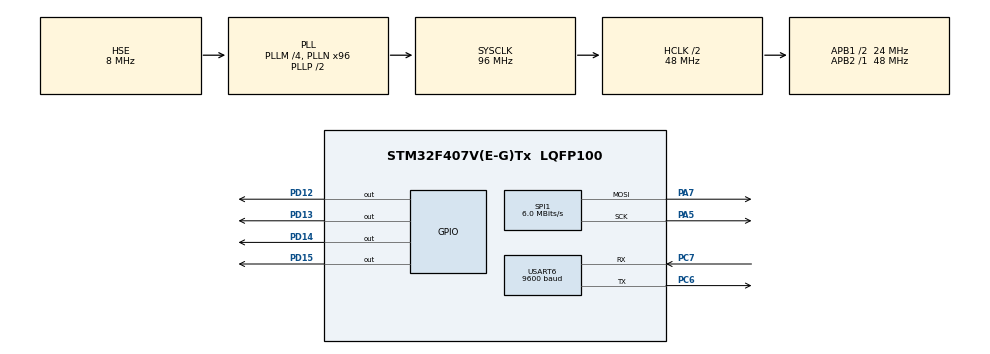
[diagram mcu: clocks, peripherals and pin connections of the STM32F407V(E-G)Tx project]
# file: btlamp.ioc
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Dma.Request0=SPI1_TX
Dma.Request1=USART6_RX
Dma.SPI1_TX.0.Direction=DMA_MEMORY_TO_PERIPH
Dma.SPI1_TX.0.FIFOMode=DMA_FIFOMODE_DISABLE
Dma.SPI1_TX.0.Instance=DMA2_Stream3
Dma.SPI1_TX.0.MemDataAlignment=DMA_MDATAALIGN_BYTE
Dma.SPI1_TX.0.MemInc=DMA_MINC_ENABLE
Dma.SPI1_TX.0.Mode=DMA_CIRCULAR
Dma.SPI1_TX.0.PeriphDataAlignment=DMA_PDATAALIGN_BYTE
Dma.SPI1_TX.0.PeriphInc=DMA_PINC_DISABLE
Dma.SPI1_TX.0.Priority=DMA_PRIORITY_VERY_HIGH
Dma.USART6_RX.1.Direction=DMA_PERIPH_TO_MEMORY
Dma.USART6_RX.1.FIFOMode=DMA_FIFOMODE_DISABLE
Dma.USART6_RX.1.Instance=DMA2_Stream1
Dma.USART6_RX.1.MemDataAlignment=DMA_MDATAALIGN_BYTE
Dma.USART6_RX.1.MemInc=DMA_MINC_ENABLE
Dma.USART6_RX.1.Mode=DMA_NORMAL
Dma.USART6_RX.1.PeriphDataAlignment=DMA_PDATAALIGN_BYTE
Dma.USART6_RX.1.PeriphInc=DMA_PINC_DISABLE
Dma.USART6_RX.1.Priority=DMA_PRIORITY_VERY_HIGH
Mcu.Family=STM32F4
Mcu.Name=STM32F407V(E-G)Tx
Mcu.Package=LQFP100
NVIC.DMA2_Stream1_IRQn=true\:0\:0\:false\:false\:true\:false
NVIC.DMA2_Stream3_IRQn=true\:0\:0\:false\:false\:true\:false
NVIC.PriorityGroup=NVIC_PRIORITYGROUP_4
NVIC.RCC_IRQn=true\:0\:0\:false\:false\:true\:true
NVIC.SPI1_IRQn=true\:0\:0\:false\:false\:true\:true
NVIC.TIM2_IRQn=true\:0\:0\:false\:false\:true\:true
NVIC.USART6_IRQn=true\:0\:0\:false\:false\:true\:true
PA5.Mode=TX_Only_Simplex_Unidirect_Master
PA5.Signal=SPI1_SCK
PA7.Mode=TX_Only_Simplex_Unidirect_Master
PA7.Signal=SPI1_MOSI
PC6.Mode=Asynchronous
PC6.Signal=USART6_TX
PC7.Mode=Asynchronous
PC7.Signal=USART6_RX
PD12.Signal=GPIO_Output
PD13.Signal=GPIO_Output
PD14.Signal=GPIO_Output
PD15.Signal=GPIO_Output
PH0-OSC_IN.Mode=HSE-External-Oscillator
PH0-OSC_IN.Signal=RCC_OSC_IN
PH1-OSC_OUT.Mode=HSE-External-Oscillator
PH1-OSC_OUT.Signal=RCC_OSC_OUT
ProjectManager.HeapSize=0x200
ProjectManager.StackSize=0x400
ProjectManager.TargetToolchain=SW4STM32
RCC.48MHZClocksFreq_Value=48000000
RCC.AHBCLKDivider=RCC_SYSCLK_DIV2
RCC.AHBFreq_Value=48000000
RCC.APB1CLKDivider=RCC_HCLK_DIV2
RCC.APB1Freq_Value=24000000
RCC.APB1TimFreq_Value=48000000
RCC.APB2Freq_Value=48000000
RCC.APB2TimFreq_Value=48000000
RCC.CortexFreq_Value=48000000
RCC.HCLKFreq_Value=48000000
RCC.HSE_VALUE=8000000
RCC.HSI_VALUE=16000000
RCC.LSE_VALUE=32768
RCC.PLLM=4
RCC.PLLN=96
RCC.PLLSourceVirtual=RCC_PLLSOURCE_HSE
RCC.SYSCLKFreq_VALUE=96000000
RCC.SYSCLKSource=RCC_SYSCLKSOURCE_PLLCLK
RCC.VCOOutputFreq_Value=192000000
SPI1.BaudRatePrescaler=SPI_BAUDRATEPRESCALER_8
SPI1.CalculateBaudRate=6.0 MBits/s
SPI1.Direction=SPI_DIRECTION_2LINES
SPI1.Mode=SPI_MODE_MASTER
SPI1.VirtualType=VM_MASTER
TIM2.Period=9
TIM2.Prescaler=4799
USART6.BaudRate=9600
USART6.VirtualMode=VM_ASYNC
VP_TIM2_VS_ClockSourceINT.Mode=Internal
board=custom

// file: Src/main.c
/* USER CODE BEGIN Header */
/**
  ******************************************************************************
  * @file           : main.c
  * @brief          : Main program body
  ******************************************************************************
  ** This notice applies to any and all portions of this file
  * that are not between comment pairs USER CODE BEGIN and
  * USER CODE END. Other portions of this file, whether
  * inserted by the user or by software development tools
  * are owned by their respective copyright owners.
  *
  * COPYRIGHT(c) 2019 STMicroelectronics
  *
  * Redistribution and use in source and binary forms, with or without modification,
  * are permitted provided that the following conditions are met:
  *   1. Redistributions of source code must retain the above copyright notice,
  *      this list of conditions and the following disclaimer.
  *   2. Redistributions in binary form must reproduce the above copyright notice,
  *      this list of conditions and the following disclaimer in the documentation
  *      and/or other materials provided with the distribution.
  *   3. Neither the name of STMicroelectronics nor the names of its contributors
  *      may be used to endorse or promote products derived from this software
  *      without specific prior written permission.
  *
  * THIS SOFTWARE IS PROVIDED BY THE COPYRIGHT HOLDERS AND CONTRIBUTORS "AS IS"
  * AND ANY EXPRESS OR IMPLIED WARRANTIES, INCLUDING, BUT NOT LIMITED TO, THE
  * IMPLIED WARRANTIES OF MERCHANTABILITY AND FITNESS FOR A PARTICULAR PURPOSE ARE
  * DISCLAIMED. IN NO EVENT SHALL THE COPYRIGHT HOLDER OR CONTRIBUTORS BE LIABLE
  * FOR ANY DIRECT, INDIRECT, INCIDENTAL, SPECIAL, EXEMPLARY, OR CONSEQUENTIAL
  * DAMAGES (INCLUDING, BUT NOT LIMITED TO, PROCUREMENT OF SUBSTITUTE GOODS OR
  * SERVICES; LOSS OF USE, DATA, OR PROFITS; OR BUSINESS INTERRUPTION) HOWEVER
  * CAUSED AND ON ANY THEORY OF LIABILITY, WHETHER IN CONTRACT, STRICT LIABILITY,
  * OR TORT (INCLUDING NEGLIGENCE OR OTHERWISE) ARISING IN ANY WAY OUT OF THE USE
  * OF THIS SOFTWARE, EVEN IF ADVISED OF THE POSSIBILITY OF SUCH DAMAGE.
  *
  ******************************************************************************
  */
/* USER CODE END Header */

#include "main.h"

/* USER CODE BEGIN Includes */
#include <stdlib.h>
#include <string.h>
#include "stm32f4xx_hal.h"
#include "ws2812b.h"
#include "ws2812b_fx.h"

/* USER CODE END Includes */

SPI_HandleTypeDef hspi1;
DMA_HandleTypeDef hdma_spi1_tx;

TIM_HandleTypeDef htim2;

UART_HandleTypeDef huart6;
DMA_HandleTypeDef hdma_usart6_rx;

/* USER CODE BEGIN PV */
uint8_t rx_buffer[13];
ws2812b_color co1;
int msec_counter = 0, sec_counter = 0, min_counter = 0, min_alarm = 0;
/* USER CODE END PV */

void SystemClock_Config(void);
static void MX_GPIO_Init(void);
static void MX_DMA_Init(void);
static void MX_USART6_UART_Init(void);
static void MX_SPI1_Init(void);
static void MX_TIM2_Init(void);
/* USER CODE BEGIN PFP */
void HAL_TIM_PeriodElapsedCallback(TIM_HandleTypeDef *htim){
	WS2812BFX_SysTickCallback();	// FX effects software timers
	if(min_alarm > 0){
		msec_counter++;
		if(msec_counter == 1000){
			msec_counter = 0;
			sec_counter++;
		}
		if(sec_counter == 60){
			sec_counter = 0;
			min_counter++;
		}
		if(min_counter == min_alarm){
			WS2812BFX_SetSpeed(0, 12);
			WS2812BFX_SetColorRGB(0, 255, 0, 0);
			WS2812BFX_SetColorRGB(1, 0, 0, 255);
			co1.red = 0;
			co1.green = 0;
			co1.blue = 0;
			WS2812BFX_SetMode(0, FX_MODE_FADE_DUAL);	// Set mode segment 0
			min_alarm = 0;
		}
	}
}
void HAL_UART_RxCpltCallback(UART_HandleTypeDef *huart) {
	  int tem = 0, tmp2 = 0;
	  char c1[4], c2[4], c3[4], alarm[6];
	  c1[4] = '\0';
	  c2[4] = '\0';
	  c3[4] = '\0';
	  alarm[6] = '\0';

	  if(rx_buffer[0] == '0'){
		WS2812BFX_SetSpeed(0, 1);
		WS2812BFX_SetColorRGB(0, co1.red, co1.green, co1.blue);	// Set color 1
		WS2812BFX_SetColorRGB(1, 0,0,0);	// Set color 1
		co1.red = 0;
		co1.green = 0;
		co1.blue = 0;
		WS2812BFX_SetMode(0, FX_MODE_FADE);
	  }

	  if(rx_buffer[0] == '1'){
		WS2812BFX_SetSpeed(0, 1);
		WS2812BFX_SetColorRGB(0, co1.red, co1.green, co1.blue);	// Set color 1
		WS2812BFX_SetColorRGB(1, 255,255,255);	// Set color 1
		co1.red = 255;
		co1.green = 255;
		co1.blue = 255;
		WS2812BFX_SetMode(0, FX_MODE_FADE);
	  }

	  if(rx_buffer[0] == '2'){
		  for(uint8_t j = 2; j < 13; j++){
			  if(rx_buffer[j] == '-'){
				  tem++;
				  tmp2 = 0;
				  continue;
			  }
			  if(tem==0){
				  c1[tmp2] = rx_buffer[j];
				  tmp2++;
			  }
			  if(tem==1){
				  c2[tmp2] = rx_buffer[j];
				  tmp2++;
			  }
			  if(tem==2){
				  c3[tmp2] = rx_buffer[j];
				  tmp2++;
				  if(tmp2 == 3) break;
			  }
		  }
		  int col1 = strtol( c1,NULL, 10);
		  int col2 = atoi(c2);
		  int col3 = atoi(c3);

		  WS2812BFX_SetSpeed(0, 1);
		  WS2812BFX_SetColorRGB(0, co1.red, co1.green, co1.blue);
		  WS2812BFX_SetColorRGB(1, col1, col2, col3);
		  co1.red = col1;
		  co1.green = col2;
		  co1.blue = col3;
		  WS2812BFX_SetMode(0, FX_MODE_FADE);	// Set mode segment 0
	  }
	  if(rx_buffer[0] == '3'){
		  // NATURE
		  if(rx_buffer[1] == '-' && rx_buffer[2] == '0'){
			  WS2812BFX_SetSpeed(0, 80);
			  WS2812BFX_SetColorRGB(0, 0, 64, 0);
			  WS2812BFX_SetColorRGB(1, 128, 255, 0);
			  co1.red = 0;
			  co1.green = 0;
		  	  co1.blue = 0;
		  	  WS2812BFX_SetMode(0, FX_MODE_FADE_DUAL);	// Set mode segment 0
		  }
		  // CANDLE
		  if(rx_buffer[1] == '-' && rx_buffer[2] == '1'){
			  WS2812BFX_SetSpeed(0, 20);
			  WS2812BFX_SetColorRGB(0, 255, 60, 0);
			  WS2812BFX_SetColorRGB(1, 224, 20, 0);
			  co1.red = 0;
			  co1.green = 0;
			  co1.blue = 0;
			  WS2812BFX_SetMode(0, FX_MODE_FADE_DUAL);	// Set mode segment 0
		  }
		  // FIRE
		  if(rx_buffer[1] == '-' && rx_buffer[2] == '2'){
			  WS2812BFX_SetSpeed(0, 80);
 			  WS2812BFX_SetColorRGB(0, 128, 0, 0);
			  co1.red = 0;
		  	  co1.green = 0;
		  	  co1.blue = 0;
		  	  WS2812BFX_SetMode(0, FX_MODE_RUNNING_LIGHTS);	// Set mode segment 0
		  }
		  // RAINBOW
		  if(rx_buffer[1] == '-' && rx_buffer[2] == '3'){
			  WS2812BFX_SetSpeed(0, 50);
			  co1.red = 0;
			  co1.green = 0;
			  co1.blue = 0;
		  	  WS2812BFX_SetMode(0, FX_MODE_RAINBOW);	// Set mode segment 0
		  }
		  // ROYAL
		  if(rx_buffer[1] == '-' && rx_buffer[2] == '4'){
			  WS2812BFX_SetSpeed(0, 30);
 			  WS2812BFX_SetColorRGB(0, 180,0,0);
 			  WS2812BFX_SetColorRGB(1, 139,0,70);
			  co1.red = 0;
			  co1.green = 0;
			  co1.blue = 0;
			  WS2812BFX_SetMode(0, FX_MODE_FADE_DUAL);	// Set mode segment 0
		  }
		  // OCEAN
		  if(rx_buffer[1] == '-' && rx_buffer[2] == '5'){
			  WS2812BFX_SetSpeed(0, 100);
			  WS2812BFX_SetColorRGB(0, 0, 106, 255);
			  WS2812BFX_SetColorRGB(1, 0 ,4,214);
			  co1.red = 0;
			  co1.green = 0;
			  co1.blue = 0;
			  WS2812BFX_SetMode(0, FX_MODE_FADE_DUAL);	// Set mode segment 0
		  }
	  }
	  if(rx_buffer[0] == '5'){
		  for(uint8_t j = 2; j < 7; j++){
			  alarm[tem] = rx_buffer[j];
			  tem++;
		  }
		  msec_counter = 0;
		  sec_counter = 0;
		  min_counter = 0;
		  min_alarm = atoi(alarm);
	  }
	  HAL_UART_Receive_DMA(&huart6, rx_buffer, 15);
}
/* USER CODE END PFP */

int main(void)
{

  /* MCU Configuration--------------------------------------------------------*/

  /* Reset of all peripherals, Initializes the Flash interface and the Systick. */
  HAL_Init();

  /* Configure the system clock */
  SystemClock_Config();

  /* Initialize all configured peripherals */
  MX_GPIO_Init();
  MX_DMA_Init();
  MX_USART6_UART_Init();
  MX_SPI1_Init();
  MX_TIM2_Init();
  /* USER CODE BEGIN 2 */
  HAL_TIM_Base_Start_IT(&htim2);

  WS2812B_Init(&hspi1);
  WS2812BFX_Init(1);
  co1.red = 0;
  co1.green = 0;
  co1.blue = 0;
  WS2812BFX_Start(0);
  WS2812BFX_SetSpeed(0, 2);
  WS2812BFX_SetColorRGB(0,0,0,0);
  WS2812BFX_SetColorRGB(1, 0,0,0);	// Set color 1
  WS2812BFX_SetMode(0, FX_MODE_FADE);

  HAL_UART_Receive_DMA(&huart6, rx_buffer, 15);
  /* USER CODE END 2 */

  /* Infinite loop */
  /* USER CODE BEGIN WHILE */
  while (1)
  {

	  WS2812BFX_Callback();	// FX effects calllback

    /* USER CODE END WHILE */

  }
}

void SystemClock_Config(void)
{
  RCC_OscInitTypeDef RCC_OscInitStruct = {0};
  RCC_ClkInitTypeDef RCC_ClkInitStruct = {0};

  /**Configure the main internal regulator output voltage
  */
  __HAL_RCC_PWR_CLK_ENABLE();
  __HAL_PWR_VOLTAGESCALING_CONFIG(PWR_REGULATOR_VOLTAGE_SCALE1);
  /**Initializes the CPU, AHB and APB busses clocks
  */
  RCC_OscInitStruct.OscillatorType = RCC_OSCILLATORTYPE_HSE;
  RCC_OscInitStruct.HSEState = RCC_HSE_ON;
  RCC_OscInitStruct.PLL.PLLState = RCC_PLL_ON;
  RCC_OscInitStruct.PLL.PLLSource = RCC_PLLSOURCE_HSE;
  RCC_OscInitStruct.PLL.PLLM = 4;
  RCC_OscInitStruct.PLL.PLLN = 96;
  RCC_OscInitStruct.PLL.PLLP = RCC_PLLP_DIV2;
  RCC_OscInitStruct.PLL.PLLQ = 4;
  if (HAL_RCC_OscConfig(&RCC_OscInitStruct) != HAL_OK)
  {
    Error_Handler();
  }
  /**Initializes the CPU, AHB and APB busses clocks
  */
  RCC_ClkInitStruct.ClockType = RCC_CLOCKTYPE_HCLK|RCC_CLOCKTYPE_SYSCLK
                              |RCC_CLOCKTYPE_PCLK1|RCC_CLOCKTYPE_PCLK2;
  RCC_ClkInitStruct.SYSCLKSource = RCC_SYSCLKSOURCE_PLLCLK;
  RCC_ClkInitStruct.AHBCLKDivider = RCC_SYSCLK_DIV2;
  RCC_ClkInitStruct.APB1CLKDivider = RCC_HCLK_DIV2;
  RCC_ClkInitStruct.APB2CLKDivider = RCC_HCLK_DIV1;

  if (HAL_RCC_ClockConfig(&RCC_ClkInitStruct, FLASH_LATENCY_1) != HAL_OK)
  {
    Error_Handler();
  }
}

static void MX_SPI1_Init(void)
{

  /* SPI1 parameter configuration*/
  hspi1.Instance = SPI1;
  hspi1.Init.Mode = SPI_MODE_MASTER;
  hspi1.Init.Direction = SPI_DIRECTION_2LINES;
  hspi1.Init.DataSize = SPI_DATASIZE_8BIT;
  hspi1.Init.CLKPolarity = SPI_POLARITY_LOW;
  hspi1.Init.CLKPhase = SPI_PHASE_1EDGE;
  hspi1.Init.NSS = SPI_NSS_SOFT;
  hspi1.Init.BaudRatePrescaler = SPI_BAUDRATEPRESCALER_8;
  hspi1.Init.FirstBit = SPI_FIRSTBIT_MSB;
  hspi1.Init.TIMode = SPI_TIMODE_DISABLE;
  hspi1.Init.CRCCalculation = SPI_CRCCALCULATION_DISABLE;
  hspi1.Init.CRCPolynomial = 10;
  if (HAL_SPI_Init(&hspi1) != HAL_OK)
  {
    Error_Handler();
  }

}

static void MX_TIM2_Init(void)
{

  TIM_ClockConfigTypeDef sClockSourceConfig = {0};
  TIM_MasterConfigTypeDef sMasterConfig = {0};

  htim2.Instance = TIM2;
  htim2.Init.Prescaler = 4799;
  htim2.Init.CounterMode = TIM_COUNTERMODE_UP;
  htim2.Init.Period = 9;
  htim2.Init.ClockDivision = TIM_CLOCKDIVISION_DIV1;
  if (HAL_TIM_Base_Init(&htim2) != HAL_OK)
  {
    Error_Handler();
  }
  sClockSourceConfig.ClockSource = TIM_CLOCKSOURCE_INTERNAL;
  if (HAL_TIM_ConfigClockSource(&htim2, &sClockSourceConfig) != HAL_OK)
  {
    Error_Handler();
  }
  sMasterConfig.MasterOutputTrigger = TIM_TRGO_RESET;
  sMasterConfig.MasterSlaveMode = TIM_MASTERSLAVEMODE_DISABLE;
  if (HAL_TIMEx_MasterConfigSynchronization(&htim2, &sMasterConfig) != HAL_OK)
  {
    Error_Handler();
  }

}

static void MX_USART6_UART_Init(void)
{

  huart6.Instance = USART6;
  huart6.Init.BaudRate = 9600;
  huart6.Init.WordLength = UART_WORDLENGTH_8B;
  huart6.Init.StopBits = UART_STOPBITS_1;
  huart6.Init.Parity = UART_PARITY_NONE;
  huart6.Init.Mode = UART_MODE_TX_RX;
  huart6.Init.HwFlowCtl = UART_HWCONTROL_NONE;
  huart6.Init.OverSampling = UART_OVERSAMPLING_16;
  if (HAL_UART_Init(&huart6) != HAL_OK)
  {
    Error_Handler();
  }

}

static void MX_DMA_Init(void)
{
  /* DMA controller clock enable */
  __HAL_RCC_DMA2_CLK_ENABLE();

  /* DMA interrupt init */
  /* DMA2_Stream1_IRQn interrupt configuration */
  HAL_NVIC_SetPriority(DMA2_Stream1_IRQn, 0, 0);
  HAL_NVIC_EnableIRQ(DMA2_Stream1_IRQn);
  /* DMA2_Stream3_IRQn interrupt configuration */
  HAL_NVIC_SetPriority(DMA2_Stream3_IRQn, 0, 0);
  HAL_NVIC_EnableIRQ(DMA2_Stream3_IRQn);

}

static void MX_GPIO_Init(void)
{
  GPIO_InitTypeDef GPIO_InitStruct = {0};

  /* GPIO Ports Clock Enable */
  __HAL_RCC_GPIOH_CLK_ENABLE();
  __HAL_RCC_GPIOA_CLK_ENABLE();
  __HAL_RCC_GPIOD_CLK_ENABLE();
  __HAL_RCC_GPIOC_CLK_ENABLE();

  /*Configure GPIO pin Output Level */
  HAL_GPIO_WritePin(GPIOD, GPIO_PIN_12|GPIO_PIN_13|GPIO_PIN_14|GPIO_PIN_15, GPIO_PIN_RESET);

  /*Configure GPIO pins : PD12 PD13 PD14 PD15 */
  GPIO_InitStruct.Pin = GPIO_PIN_12|GPIO_PIN_13|GPIO_PIN_14|GPIO_PIN_15;
  GPIO_InitStruct.Mode = GPIO_MODE_OUTPUT_PP;
  GPIO_InitStruct.Pull = GPIO_NOPULL;
  GPIO_InitStruct.Speed = GPIO_SPEED_FREQ_LOW;
  HAL_GPIO_Init(GPIOD, &GPIO_InitStruct);

}

void Error_Handler(void)
{
}

/************************ (C) COPYRIGHT STMicroelectronics *****END OF FILE****/
